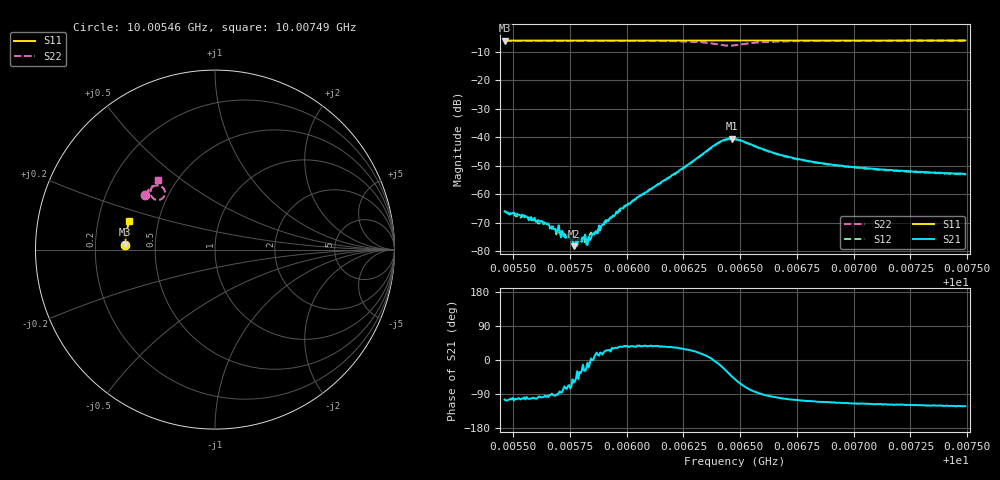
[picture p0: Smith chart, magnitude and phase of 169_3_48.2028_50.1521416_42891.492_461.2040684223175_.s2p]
#  HZ  S  RI  R  50.00
! Rohde & Schwarz Vector Network Analyzer
! Rohde-Schwarz,ZNB20-2Port,1311601062101988,3.16
! Created: UTC 3/20/2024, 11:43:39 AM
! freq[Hz]  re:S11  im:S11  re:S21  im:S21  re:S12  im:S12  re:S22  im:S22
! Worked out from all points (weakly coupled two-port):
!   401 points, 10.00546 GHz to 10.00749 GHz, reference 50 ohm
!   highest |S21| = -40.44 dB at 10.00646 GHz (marker M1); lowest = -78.3 dB at 10.00577 GHz (marker M2)
!   lowest |S11| = -6.0 dB at 10.00546 GHz (marker M3), VSWR 3.00, Z = 16.7 + j1.23 ohm
!   |S11| at or under -10 dB: nowhere
!   |S22| runs from -7.8 to -6.0 dB; largest |S21 - S12| = 0.00054
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1.0005462e10  -0.4998 0.0277  -0.000126 -0.000484  -0.000121 -0.000472  -0.3915 0.3053
1.0005548e10  -0.4996 0.0335  -6.22e-05 -0.00042  -3.62e-05 -0.000392  -0.3877 0.3105
1.000565e10  -0.4994 0.0399  -2.47e-05 -0.000297  -1.59e-05 -0.000294  -0.3831 0.3167
1.0005721e10  -0.4989 0.0446  5.01e-05 -0.000192  5.3e-05 -0.000174  -0.3795 0.3209
1.0005751e10  -0.4989 0.0465  4.27e-05 -0.000157  9.02e-05 -0.000136  -0.378 0.323
1.0005767e10  -0.4988 0.0474  6.12e-05 -0.000105  9.92e-05 -0.000138  -0.3771 0.3237
1.0005777e10  -0.4988 0.0482  0.000105 -0.000118  0.000111 -9.11e-05  -0.3766 0.3243
1.0005802e10  -0.4987 0.0498  0.000129 -7.03e-05  0.000122 -8.06e-05  -0.3752 0.326
1.0005822e10  -0.4985 0.0511  0.000121 -4.61e-05  0.000161 -1.7e-05  -0.3741 0.3274
1.0005833e10  -0.4987 0.0517  0.000168 -5.97e-05  0.000151 -3.49e-05  -0.3736 0.3279
1.0005843e10  -0.4985 0.0524  0.000167 1.23e-05  0.000212 1.17e-05  -0.373 0.3287
1.0005863e10  -0.4985 0.0537  0.000213 5.61e-05  0.000215 4.24e-05  -0.3717 0.3299
1.0005888e10  -0.4983 0.0554  0.000266 8.92e-05  0.000252 0.000125  -0.3703 0.3317
1.0005964e10  -0.4978 0.0603  0.000424 0.000291  0.000405 0.000284  -0.365 0.3368
1.0006142e10  -0.4965 0.0719  0.00123 0.000889  0.00117 0.000924  -0.3488 0.3496
1.0006401e10  -0.4938 0.0884  0.00782 -0.00119  0.00766 -0.000782  -0.2801 0.3276
1.0006462e10  -0.4933 0.0917  0.00699 -0.00644  0.00715 -0.00592  -0.2971 0.2826
1.0006477e10  -0.4932 0.0926  0.0059 -0.00729  0.00612 -0.00681  -0.3087 0.2776
1.0006665e10  -0.4917 0.1045  -0.000818 -0.00502  -0.00057 -0.00493  -0.3595 0.3229
1.0006817e10  -0.49 0.1143  -0.0012 -0.00354  -0.00104 -0.00352  -0.3529 0.345
1.0007157e10  -0.4852 0.1356  -0.00125 -0.00236  -0.00109 -0.00237  -0.3345 0.371
1.0007492e10  -0.4797 0.1567  -0.00119 -0.0019  -0.00106 -0.00193  -0.317 0.3891
